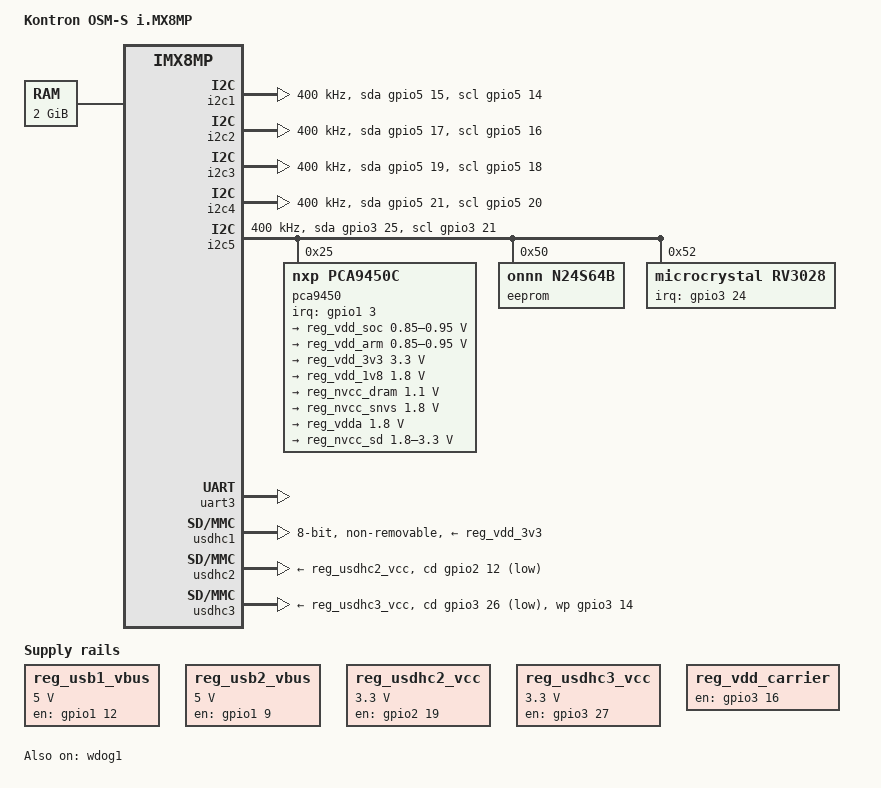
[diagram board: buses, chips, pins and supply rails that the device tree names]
// SPDX-License-Identifier: GPL-2.0+ OR MIT
/*
 * Copyright (C) 2022 Kontron Electronics GmbH
 */

#include <dt-bindings/interrupt-controller/irq.h>
#include "imx8mp.dtsi"

/ {
	model = "Kontron OSM-S i.MX8MP";
	compatible = "kontron,imx8mp-osm-s", "fsl,imx8mp";

	aliases {
		rtc0 = &rv3028;
		rtc1 = &snvs_rtc;
	};

	memory@40000000 {
		device_type = "memory";
		/*
		 * There are multiple SoM flavors with different DDR sizes.
		 * The smallest is 1GB. For larger sizes the bootloader will
		 * update the reg property.
		 */
		reg = <0x0 0x40000000 0 0x80000000>;
	};

	chosen {
		stdout-path = &uart3;
	};

	reg_usb1_vbus: regulator-usb1-vbus {
		compatible = "regulator-fixed";
		pinctrl-names = "default";
		pinctrl-0 = <&pinctrl_reg_usb1_vbus>;
		gpio = <&gpio1 12 GPIO_ACTIVE_HIGH>;
		enable-active-high;
		regulator-min-microvolt = <5000000>;
		regulator-max-microvolt = <5000000>;
		regulator-name = "VBUS_USB_A";
	};

	reg_usb2_vbus: regulator-usb2-vbus {
		compatible = "regulator-fixed";
		pinctrl-names = "default";
		pinctrl-0 = <&pinctrl_reg_usb2_vbus>;
		gpio = <&gpio1 9 GPIO_ACTIVE_HIGH>;
		enable-active-high;
		regulator-min-microvolt = <5000000>;
		regulator-max-microvolt = <5000000>;
		regulator-name = "VBUS_USB_B";
	};

	reg_usdhc2_vcc: regulator-usdhc2-vcc {
		compatible = "regulator-fixed";
		pinctrl-names = "default";
		pinctrl-0 = <&pinctrl_reg_usdhc2_vcc>;
		gpio = <&gpio2 19 GPIO_ACTIVE_HIGH>;
		enable-active-high;
		regulator-min-microvolt = <3300000>;
		regulator-max-microvolt = <3300000>;
		regulator-name = "VCC_SDIO_A";
	};

	reg_usdhc3_vcc: regulator-usdhc3-vcc {
		compatible = "regulator-fixed";
		pinctrl-names = "default";
		pinctrl-0 = <&pinctrl_reg_usdhc3_vcc>;
		gpio = <&gpio3 27 GPIO_ACTIVE_HIGH>;
		enable-active-high;
		regulator-min-microvolt = <3300000>;
		regulator-max-microvolt = <3300000>;
		regulator-name = "VCC_SDIO_B";
	};

	reg_vdd_carrier: regulator-vdd-carrier {
		compatible = "regulator-fixed";
		pinctrl-names = "default";
		pinctrl-0 = <&pinctrl_reg_vdd_carrier>;
		gpio = <&gpio3 16 GPIO_ACTIVE_HIGH>;
		enable-active-high;
		regulator-always-on;
		regulator-boot-on;
		regulator-name = "VDD_CARRIER";

		regulator-state-standby {
			regulator-on-in-suspend;
		};

		regulator-state-mem {
			regulator-off-in-suspend;
		};

		regulator-state-disk {
			regulator-off-in-suspend;
		};
	};
};

&A53_0 {
	cpu-supply = <&reg_vdd_arm>;
};

&A53_1 {
	cpu-supply = <&reg_vdd_arm>;
};

&A53_2 {
	cpu-supply = <&reg_vdd_arm>;
};

&A53_3 {
	cpu-supply = <&reg_vdd_arm>;
};

&ecspi1 { /* OSM-S SPI_A */
	pinctrl-names = "default";
	pinctrl-0 = <&pinctrl_ecspi1>;
	cs-gpios = <&gpio5 9 GPIO_ACTIVE_LOW>;
};

&ecspi2 { /* OSM-S SPI_B */
	pinctrl-names = "default";
	pinctrl-0 = <&pinctrl_ecspi2>;
	cs-gpios = <&gpio5 13 GPIO_ACTIVE_LOW>;
};

&flexcan1 { /* OSM-S CAN_A */
	pinctrl-names = "default";
	pinctrl-0 = <&pinctrl_flexcan1>;
};

&flexcan2 { /* OSM-S CAN_B */
	pinctrl-names = "default";
	pinctrl-0 = <&pinctrl_flexcan2>;
};

&gpio1 {
	pinctrl-names = "default";
	pinctrl-0 = <&pinctrl_gpio1>;
	gpio-line-names = "GPIO_A_0", "GPIO_A_1", "", "",
			  "", "GPIO_A_2", "GPIO_A_3", "GPIO_A_4",
			  "GPIO_A_5", "USB_B_EN", "USB_A_ID", "USB_B_ID",
			  "USB_A_EN", "USB_A_OC","CAM_MCK", "USB_B_OC",
			  "ETH_B_MDC", "ETH_B_MDIO", "ETH_B_TXD3", "ETH_B_TXD2",
			  "ETH_B_TXD1", "ETH_B_TXD0", "ETH_B_TX_EN", "ETH_B_TX_CLK",
			  "ETH_B_RX_DV", "ETH_B_RX_CLK", "ETH_B_RXD0", "ETH_B_RXD1",
			  "ETH_B_RXD2", "ETH_B_RXD3";
};

&gpio2 {
	gpio-line-names = "", "", "", "", "", "", "", "", "", "", "", "",
			  "SDIO_A_CD", "SDIO_A_CLK", "SDIO_A_CMD", "SDIO_A_D0",
			  "SDIO_A_D1", "SDIO_A_D2", "SDIO_A_D3", "SDIO_A_PWR_EN",
			  "SDIO_A_WP";
};

&gpio3 {
	pinctrl-names = "default";
	pinctrl-0 = <&pinctrl_gpio3>;
	gpio-line-names = "PCIE_WAKE", "PCIE_CLKREQ", "PCIE_A_PERST", "SDIO_B_D5",
			  "SDIO_B_D6", "SDIO_B_D7", "SPI_A_WP", "SPI_A_HOLD",
			  "UART_B_RTS", "UART_B_CTS", "SDIO_B_D0", "SDIO_B_D1",
			  "SDIO_B_D2", "SDIO_B_D3", "SDIO_B_WP", "SDIO_B_D4",
			  "PCIE_SM_ALERT", "SDIO_B_CLK", "SDIO_B_CMD", "GPIO_B_0",
			  "GPIO_B_1", "", "BOOT_SEL0", "BOOT_SEL1",
			  "", "", "SDIO_B_CD", "SDIO_B_PWR_EN",
			  "HDMI_CEC", "HDMI_HPD";
};

&gpio4 {
	pinctrl-names = "default";
	pinctrl-0 = <&pinctrl_gpio4>;
	gpio-line-names = "GPIO_B_5", "GPIO_B_6", "GPIO_B_7", "GPIO_C_0",
			  "ETH_A_MDC", "ETH_A_MDIO", "ETH_A_RXD0", "ETH_A_RXD1",
			  "ETH_A_RXD2", "ETH_A_RXD3", "ETH_A_RX_DV", "ETH_A_RX_CLK",
			  "ETH_A_TXD0", "ETH_A_TXD1", "ETH_A_TXD2", "ETH_A_TXD3",
			  "ETH_A_TX_EN", "ETH_A_TX_CLK", "GPIO_B_3", "GPIO_B_4",
			  "GPIO_B_2", "GPIO_A_6", "CAN_A_TX", "UART_A_CTS",
			  "UART_A_RTS", "CAN_A_RX", "CAN_B_TX", "CAN_B_RX",
			  "GPIO_A_7", "CARRIER_PWR_EN", "I2S_A_DATA_IN", "I2S_LRCLK";
};

&gpio5 {
	gpio-line-names = "I2S_BITCLK", "I2S_A_DATA_OUT", "I2S_MCLK", "PWM_2",
			  "PWM_1", "PWM_0", "SPI_A_SCK", "SPI_A_SDO",
			  "SPI_A_SDI", "SPI_A_CS0", "SPI_B_SCK", "SPI_B_SDO",
			  "SPI_B_SDI", "SPI_B_CS0", "I2C_A_SCL", "I2C_A_SDA",
			  "I2C_B_SCL", "I2C_B_SDA", "PCIE_SMCLK", "PCIE_SMDAT",
			  "I2C_CAM_SCL", "I2C_CAM_SDA", "UART_A_RX", "UART_A_TX",
			  "UART_C_RX", "UART_C_TX", "UART_CON_RX", "UART_CON_TX",
			  "UART_B_RX", "UART_B_TX";
};

&i2c1 { /* OSM-S I2C_A */
	clock-frequency = <400000>;
	pinctrl-names = "default", "gpio";
	pinctrl-0 = <&pinctrl_i2c1>;
	pinctrl-1 = <&pinctrl_i2c1_gpio>;
	scl-gpios = <&gpio5 14 (GPIO_ACTIVE_HIGH | GPIO_OPEN_DRAIN)>;
	sda-gpios = <&gpio5 15 (GPIO_ACTIVE_HIGH | GPIO_OPEN_DRAIN)>;
};

&i2c2 { /* OSM-S I2C_B */
	clock-frequency = <400000>;
	pinctrl-names = "default", "gpio";
	pinctrl-0 = <&pinctrl_i2c2>;
	pinctrl-1 = <&pinctrl_i2c2_gpio>;
	scl-gpios = <&gpio5 16 (GPIO_ACTIVE_HIGH | GPIO_OPEN_DRAIN)>;
	sda-gpios = <&gpio5 17 (GPIO_ACTIVE_HIGH | GPIO_OPEN_DRAIN)>;
};

&i2c3 { /* OSM-S PCIe SMDAT/SMCLK */
	clock-frequency = <400000>;
	pinctrl-names = "default", "gpio";
	pinctrl-0 = <&pinctrl_i2c3>;
	pinctrl-1 = <&pinctrl_i2c3_gpio>;
	scl-gpios = <&gpio5 18 (GPIO_ACTIVE_HIGH | GPIO_OPEN_DRAIN)>;
	sda-gpios = <&gpio5 19 (GPIO_ACTIVE_HIGH | GPIO_OPEN_DRAIN)>;
};

&i2c4 { /* OSM-S I2C_CAM */
	clock-frequency = <400000>;
	pinctrl-names = "default", "gpio";
	pinctrl-0 = <&pinctrl_i2c4>;
	pinctrl-1 = <&pinctrl_i2c4_gpio>;
	scl-gpios = <&gpio5 20 (GPIO_ACTIVE_HIGH | GPIO_OPEN_DRAIN)>;
	sda-gpios = <&gpio5 21 (GPIO_ACTIVE_HIGH | GPIO_OPEN_DRAIN)>;
};

&i2c5 { /* PMIC, EEPROM, RTC */
	clock-frequency = <400000>;
	pinctrl-names = "default", "gpio";
	pinctrl-0 = <&pinctrl_i2c5>;
	pinctrl-1 = <&pinctrl_i2c5_gpio>;
	scl-gpios = <&gpio3 21 (GPIO_ACTIVE_HIGH | GPIO_OPEN_DRAIN)>;
	sda-gpios = <&gpio3 25 (GPIO_ACTIVE_HIGH | GPIO_OPEN_DRAIN)>;
	status = "okay";

	pca9450: pmic@25 {
		compatible = "nxp,pca9450c";
		reg = <0x25>;
		pinctrl-names = "default";
		pinctrl-0 = <&pinctrl_pmic>;
		interrupt-parent = <&gpio1>;
		interrupts = <3 IRQ_TYPE_LEVEL_LOW>;
		nxp,i2c-lt-enable;

		regulators {
			reg_vdd_soc: BUCK1 { /* dual phase with BUCK3 */
				regulator-name = "+0V8_VDD_SOC (BUCK1)";
				regulator-min-microvolt = <850000>;
				regulator-max-microvolt = <950000>;
				regulator-boot-on;
				regulator-always-on;
				regulator-ramp-delay = <3125>;
			};

			reg_vdd_arm: BUCK2 {
				regulator-name = "+0V9_VDD_ARM (BUCK2)";
				regulator-min-microvolt = <850000>;
				regulator-max-microvolt = <950000>;
				regulator-boot-on;
				regulator-always-on;
				regulator-ramp-delay = <3125>;
				nxp,dvs-run-voltage = <950000>;
				nxp,dvs-standby-voltage = <850000>;
			};

			reg_vdd_3v3: BUCK4 {
				regulator-name = "+3V3 (BUCK4)";
				regulator-min-microvolt = <3300000>;
				regulator-max-microvolt = <3300000>;
				regulator-boot-on;
				regulator-always-on;
			};

			reg_vdd_1v8: BUCK5 {
				regulator-name = "+1V8 (BUCK5)";
				regulator-min-microvolt = <1800000>;
				regulator-max-microvolt = <1800000>;
				regulator-boot-on;
				regulator-always-on;
			};

			reg_nvcc_dram: BUCK6 {
				regulator-name = "+1V1_NVCC_DRAM (BUCK6)";
				regulator-min-microvolt = <1100000>;
				regulator-max-microvolt = <1100000>;
				regulator-boot-on;
				regulator-always-on;
			};

			reg_nvcc_snvs: LDO1 {
				regulator-name = "+1V8_NVCC_SNVS (LDO1)";
				regulator-min-microvolt = <1800000>;
				regulator-max-microvolt = <1800000>;
				regulator-boot-on;
				regulator-always-on;
			};

			reg_vdda: LDO3 {
				regulator-name = "+1V8_VDDA (LDO3)";
				regulator-min-microvolt = <1800000>;
				regulator-max-microvolt = <1800000>;
				regulator-boot-on;
				regulator-always-on;
			};

			reg_nvcc_sd: LDO5 {
				regulator-name = "NVCC_SD (LDO5)";
				regulator-min-microvolt = <1800000>;
				regulator-max-microvolt = <3300000>;
				sd-vsel-gpios = <&gpio1 4 GPIO_ACTIVE_HIGH>;
			};
		};
	};

	eeprom@50 {
		compatible = "onnn,n24s64b", "atmel,24c64";
		reg = <0x50>;
		pagesize = <32>;
		size = <8192>;
		num-addresses = <1>;
	};

	rv3028: rtc@52 {
		compatible = "microcrystal,rv3028";
		reg = <0x52>;
		pinctrl-names = "default";
		pinctrl-0 = <&pinctrl_rtc>;
		interrupts-extended = <&gpio3 24 IRQ_TYPE_LEVEL_LOW>;
	};
};

&pwm1 { /* OSM-S PWM_0 */
	pinctrl-names = "default";
	pinctrl-0 = <&pinctrl_pwm1>;
};

&pwm2 { /* OSM-S PWM_1 */
	pinctrl-names = "default";
	pinctrl-0 = <&pinctrl_pwm2>;
};

&pwm3 { /* OSM-S PWM_2 */
	pinctrl-names = "default";
	pinctrl-0 = <&pinctrl_pwm3>;
};

&sai3 { /* OSM-S I2S_A */
	pinctrl-names = "default";
	pinctrl-0 = <&pinctrl_sai3>;
};

&uart1 { /* OSM-S UART_A */
	pinctrl-names = "default";
	pinctrl-0 = <&pinctrl_uart1>;
};

&uart2 { /* OSM-S UART_C */
	pinctrl-names = "default";
	pinctrl-0 = <&pinctrl_uart2>;
};

&uart3 { /* OSM-S UART_CON */
	pinctrl-names = "default";
	pinctrl-0 = <&pinctrl_uart3>;
	status = "okay";
};

&uart4 { /* OSM-S UART_B */
	pinctrl-names = "default";
	pinctrl-0 = <&pinctrl_uart4>;
};

&usb3_0 { /* OSM-S USB_A */
	pinctrl-names = "default";
	pinctrl-0 = <&pinctrl_usb1_oc>;
	fsl,over-current-active-low;
};

&usb3_1 { /* OSM-S USB_B */
	pinctrl-names = "default";
	pinctrl-0 = <&pinctrl_usb2_oc>;
	fsl,over-current-active-low;
};

&usdhc1 { /* eMMC */
	pinctrl-names = "default", "state_100mhz", "state_200mhz";
	pinctrl-0 = <&pinctrl_usdhc1>;
	pinctrl-1 = <&pinctrl_usdhc1_100mhz>;
	pinctrl-2 = <&pinctrl_usdhc1_200mhz>;
	vmmc-supply = <&reg_vdd_3v3>;
	vqmmc-supply = <&reg_vdd_1v8>;
	bus-width = <8>;
	non-removable;
	status = "okay";
};

&usdhc2 { /* OSM-S SDIO_A */
	pinctrl-names = "default", "state_100mhz", "state_200mhz";
	pinctrl-0 = <&pinctrl_usdhc2>, <&pinctrl_usdhc2_gpio>, <&pinctrl_usdhc2_wp>;
	pinctrl-1 = <&pinctrl_usdhc2_100mhz>, <&pinctrl_usdhc2_gpio>, <&pinctrl_usdhc2_wp>;
	pinctrl-2 = <&pinctrl_usdhc2_200mhz>, <&pinctrl_usdhc2_gpio>, <&pinctrl_usdhc2_wp>;
	vmmc-supply = <&reg_usdhc2_vcc>;
	vqmmc-supply = <&reg_nvcc_sd>;
	cd-gpios = <&gpio2 12 GPIO_ACTIVE_LOW>;
};

&usdhc3 { /* OSM-S SDIO_B */
	pinctrl-names = "default", "state_100mhz", "state_200mhz";
	pinctrl-0 = <&pinctrl_usdhc3>, <&pinctrl_usdhc3_gpio>;
	pinctrl-1 = <&pinctrl_usdhc3_100mhz>, <&pinctrl_usdhc3_gpio>;
	pinctrl-2 = <&pinctrl_usdhc3_200mhz>, <&pinctrl_usdhc3_gpio>;
	vmmc-supply = <&reg_usdhc3_vcc>;
	vqmmc-supply = <&reg_nvcc_sd>;
	cd-gpios = <&gpio3 26 GPIO_ACTIVE_LOW>;
	wp-gpios = <&gpio3 14 GPIO_ACTIVE_HIGH>;
};

&wdog1 {
	pinctrl-names = "default";
	pinctrl-0 = <&pinctrl_wdog>;
	fsl,ext-reset-output;
	status = "okay";
};

&iomuxc {
	pinctrl_csi_mck: csimckgrp {
		fsl,pins = <
			MX8MP_IOMUXC_GPIO1_IO14__CCM_CLKO1		0x59 /* CAM_MCK */
		>;
	};

	pinctrl_ecspi1: ecspi1grp {
		fsl,pins = <
			MX8MP_IOMUXC_ECSPI1_MISO__ECSPI1_MISO		0x44 /* SPI_A_SDI_(IO0) */
			MX8MP_IOMUXC_ECSPI1_MOSI__ECSPI1_MOSI		0x44 /* SPI_A_SDO_(IO1) */
			MX8MP_IOMUXC_ECSPI1_SCLK__ECSPI1_SCLK		0x44 /* SPI_A_SCK */
			MX8MP_IOMUXC_ECSPI1_SS0__GPIO5_IO09		0x40 /* SPI_A_CS0# */
		>;
	};

	pinctrl_ecspi2: ecspi2grp {
		fsl,pins = <
			MX8MP_IOMUXC_ECSPI2_MISO__ECSPI2_MISO		0x44 /* SPI_B_SDI */
			MX8MP_IOMUXC_ECSPI2_MOSI__ECSPI2_MOSI		0x44 /* SPI_B_SDO */
			MX8MP_IOMUXC_ECSPI2_SCLK__ECSPI2_SCLK		0x44 /* SPI_B_SCK */
			MX8MP_IOMUXC_ECSPI2_SS0__GPIO5_IO13		0x40 /* SPI_B_CS0# */
		>;
	};

	pinctrl_enet_rgmii: enetrgmiigrp {
		fsl,pins = <
			MX8MP_IOMUXC_SAI1_RXD2__ENET1_MDC		0x3 /* ETH_MDC */
			MX8MP_IOMUXC_SAI1_RXD3__ENET1_MDIO		0x3 /* ETH_MDIO */
			MX8MP_IOMUXC_SAI1_RXD4__ENET1_RGMII_RD0		0x91 /* ETH_A_(S)(R)(G)MII_RXD0 */
			MX8MP_IOMUXC_SAI1_RXD5__ENET1_RGMII_RD1		0x91 /* ETH_A_(S)(R)(G)MII_RXD1 */
			MX8MP_IOMUXC_SAI1_RXD6__ENET1_RGMII_RD2		0x91 /* ETH_A_(R)(G)MII_RXD2 */
			MX8MP_IOMUXC_SAI1_RXD7__ENET1_RGMII_RD3		0x91 /* ETH_A_(R)(G)MII_RXD3 */
			MX8MP_IOMUXC_SAI1_TXC__ENET1_RGMII_RXC		0x91 /* ETH_A_(R)(G)MII_RX_CLK */
			MX8MP_IOMUXC_SAI1_TXFS__ENET1_RGMII_RX_CTL	0x91 /* ETH_A_(R)(G)MII_RX_DV(_ER) */
			MX8MP_IOMUXC_SAI1_TXD0__ENET1_RGMII_TD0		0x1f /* ETH_A_(S)(R)(G)MII_TXD0 */
			MX8MP_IOMUXC_SAI1_TXD1__ENET1_RGMII_TD1		0x1f /* ETH_A_(S)(R)(G)MII_TXD1 */
			MX8MP_IOMUXC_SAI1_TXD2__ENET1_RGMII_TD2		0x1f /* ETH_A_(S)(R)(G)MII_TXD2 */
			MX8MP_IOMUXC_SAI1_TXD3__ENET1_RGMII_TD3		0x1f /* ETH_A_(S)(R)(G)MII_TXD3 */
			MX8MP_IOMUXC_SAI1_TXD5__ENET1_RGMII_TXC		0x1f /* ETH_A_(R)(G)MII_TX_CLK */
			MX8MP_IOMUXC_SAI1_TXD4__ENET1_RGMII_TX_CTL	0x1f /* ETH_A_(R)(G)MII_TX_EN(_ER) */
		>;
	};

	pinctrl_eqos_rgmii: eqosrgmiigrp {
		fsl,pins = <
			MX8MP_IOMUXC_ENET_MDC__ENET_QOS_MDC		0x3 /* ETH_B_MDC */
			MX8MP_IOMUXC_ENET_MDIO__ENET_QOS_MDIO		0x3 /* ETH_B_MDIO */
			MX8MP_IOMUXC_ENET_RD0__ENET_QOS_RGMII_RD0	0x91 /* ETH_B_(S)(R)(G)MII_RXD0 */
			MX8MP_IOMUXC_ENET_RD1__ENET_QOS_RGMII_RD1	0x91 /* ETH_B_(S)(R)(G)MII_RXD1 */
			MX8MP_IOMUXC_ENET_RD2__ENET_QOS_RGMII_RD2	0x91 /* ETH_B_(R)(G)MII_RXD2 */
			MX8MP_IOMUXC_ENET_RD3__ENET_QOS_RGMII_RD3	0x91 /* ETH_B_(R)(G)MII_RXD3 */
			MX8MP_IOMUXC_ENET_RXC__CCM_ENET_QOS_CLOCK_GENERATE_RX_CLK 0x91 /* ETH_B_(R)(G)MII_RX_CLK */
			MX8MP_IOMUXC_ENET_RX_CTL__ENET_QOS_RGMII_RX_CTL	0x91 /* ETH_B_(R)(G)MII_RX_DV(_ER) */
			MX8MP_IOMUXC_ENET_TD0__ENET_QOS_RGMII_TD0	0x1f /* ETH_B_(S)(R)(G)MII_TXD0 */
			MX8MP_IOMUXC_ENET_TD1__ENET_QOS_RGMII_TD1	0x1f /* ETH_B_(S)(R)(G)MII_TXD1 */
			MX8MP_IOMUXC_ENET_TD2__ENET_QOS_RGMII_TD2	0x1f /* ETH_B_(S)(R)(G)MII_TXD2 */
			MX8MP_IOMUXC_ENET_TD3__ENET_QOS_RGMII_TD3	0x1f /* ETH_B_(S)(R)(G)MII_TXD3 */
			MX8MP_IOMUXC_ENET_TXC__CCM_ENET_QOS_CLOCK_GENERATE_TX_CLK 0x1f /* ETH_B_(R)(G)MII_TX_CLK */
			MX8MP_IOMUXC_ENET_TX_CTL__ENET_QOS_RGMII_TX_CTL	0x1f /* ETH_B_(R)(G)MII_TX_EN(_ER) */
		>;
	};

	pinctrl_flexcan1: flexcan1grp {
		fsl,pins = <
			MX8MP_IOMUXC_SAI2_RXC__CAN1_TX			0x154 /* CAN_A_TX */
			MX8MP_IOMUXC_SAI2_TXC__CAN1_RX			0x154 /* CAN_A_RX */
		>;
	};

	pinctrl_flexcan2: flexcan2grp {
		fsl,pins = <
			MX8MP_IOMUXC_SAI2_TXD0__CAN2_TX			0x154 /* CAN_B_TX */
			MX8MP_IOMUXC_SAI2_MCLK__CAN2_RX			0x154 /* CAN_B_RX */
		>;
	};

	pinctrl_gpio1: gpio1grp {
		fsl,pins = <
			MX8MP_IOMUXC_GPIO1_IO00__GPIO1_IO00		0x19 /* GPIO_A_0 */
			MX8MP_IOMUXC_GPIO1_IO01__GPIO1_IO01		0x19 /* GPIO_A_1 */
			MX8MP_IOMUXC_GPIO1_IO05__GPIO1_IO05		0x19 /* GPIO_A_2 */
			MX8MP_IOMUXC_GPIO1_IO06__GPIO1_IO06		0x19 /* GPIO_A_3 */
			MX8MP_IOMUXC_GPIO1_IO07__GPIO1_IO07		0x19 /* GPIO_A_4 */
			MX8MP_IOMUXC_GPIO1_IO08__GPIO1_IO08		0x19 /* GPIO_A_5 */
		>;
	};

	pinctrl_gpio3: gpio3grp {
		fsl,pins = <
			MX8MP_IOMUXC_NAND_CE0_B__GPIO3_IO01		0x19 /* GPIO_A_7 */
			MX8MP_IOMUXC_SAI5_RXFS__GPIO3_IO19		0x19 /* GPIO_B_0 */
			MX8MP_IOMUXC_SAI5_RXC__GPIO3_IO20		0x19 /* GPIO_B_1 */
			MX8MP_IOMUXC_SAI5_RXD1__GPIO3_IO22		0x19 /* BOOT_SEL0# */
			MX8MP_IOMUXC_SAI5_RXD2__GPIO3_IO23		0x19 /* BOOT_SEL1# */
		>;
	};

	pinctrl_gpio4: gpio4grp {
		fsl,pins = <
			MX8MP_IOMUXC_SAI1_RXFS__GPIO4_IO00		0x19 /* GPIO_B_5 */
			MX8MP_IOMUXC_SAI1_RXC__GPIO4_IO01		0x19 /* GPIO_B_6 */
			MX8MP_IOMUXC_SAI1_RXD0__GPIO4_IO02		0x19 /* GPIO_B_7 */
			MX8MP_IOMUXC_SAI1_RXD1__GPIO4_IO03		0x19 /* GPIO_C_0 */
			MX8MP_IOMUXC_SAI1_TXD6__GPIO4_IO18		0x19 /* GPIO_B_3 */
			MX8MP_IOMUXC_SAI1_TXD7__GPIO4_IO19		0x19 /* GPIO_B_4 */
			MX8MP_IOMUXC_SAI1_MCLK__GPIO4_IO20		0x19 /* GPIO_B_2 */
			MX8MP_IOMUXC_SAI2_RXFS__GPIO4_IO21		0x19 /* GPIO_A_6 */
		>;
	};

	pinctrl_hdmi: hdmigrp {
		fsl,pins = <
			MX8MP_IOMUXC_HDMI_HPD__HDMIMIX_HDMI_HPD		0x19 /* HDMI_HPD */
		>;
	};

	pinctrl_i2c1: i2c1grp {
		fsl,pins = <
			MX8MP_IOMUXC_I2C1_SCL__I2C1_SCL			0x40000084 /* I2C_A_SCL */
			MX8MP_IOMUXC_I2C1_SDA__I2C1_SDA			0x40000084 /* I2C_A_SDA */
		>;
	};

	pinctrl_i2c1_gpio: i2c1gpiogrp {
		fsl,pins = <
			MX8MP_IOMUXC_I2C1_SCL__GPIO5_IO14		0x84 /* I2C_A_SCL */
			MX8MP_IOMUXC_I2C1_SDA__GPIO5_IO15		0x84 /* I2C_A_SDA */
		>;
	};

	pinctrl_i2c2: i2c2grp {
		fsl,pins = <
			MX8MP_IOMUXC_I2C2_SCL__I2C2_SCL			0x40000084 /* I2C_B_SCL */
			MX8MP_IOMUXC_I2C2_SDA__I2C2_SDA			0x40000084 /* I2C_B_SDA */
		>;
	};

	pinctrl_i2c2_gpio: i2c2gpiogrp {
		fsl,pins = <
			MX8MP_IOMUXC_I2C2_SCL__GPIO5_IO16		0x84 /* I2C_B_SCL */
			MX8MP_IOMUXC_I2C2_SDA__GPIO5_IO17		0x84 /* I2C_B_SDA */
		>;
	};

	pinctrl_i2c3: i2c3grp {
		fsl,pins = <
			MX8MP_IOMUXC_I2C3_SCL__I2C3_SCL			0x40000084 /* PCIe_SMCLK */
			MX8MP_IOMUXC_I2C3_SDA__I2C3_SDA			0x40000084 /* PCIe_SMDAT */
		>;
	};

	pinctrl_i2c3_gpio: i2c3gpiogrp {
		fsl,pins = <
			MX8MP_IOMUXC_I2C3_SCL__GPIO5_IO18		0x84 /* PCIe_SMCLK */
			MX8MP_IOMUXC_I2C3_SDA__GPIO5_IO19		0x84 /* PCIe_SMDAT */
		>;
	};

	pinctrl_i2c4: i2c4grp {
		fsl,pins = <
			MX8MP_IOMUXC_I2C4_SCL__I2C4_SCL			0x40000084 /* I2C_CAM_SCL/CSI_TX_P */
			MX8MP_IOMUXC_I2C4_SDA__I2C4_SDA			0x40000084 /* I2C_CAM_SDA/CSI_TX_N */
		>;
	};

	pinctrl_i2c4_gpio: i2c4gpiogrp {
		fsl,pins = <
			MX8MP_IOMUXC_I2C4_SCL__GPIO5_IO20		0x84 /* I2C_CAM_SCL/CSI_TX_P */
			MX8MP_IOMUXC_I2C4_SDA__GPIO5_IO21		0x84 /* I2C_CAM_SDA/CSI_TX_N */
		>;
	};

	pinctrl_i2c5: i2c5grp {
		fsl,pins = <
			MX8MP_IOMUXC_SAI5_RXD0__I2C5_SCL		0x40000084
			MX8MP_IOMUXC_SAI5_MCLK__I2C5_SDA		0x40000084
		>;
	};

	pinctrl_i2c5_gpio: i2c5gpiogrp {
		fsl,pins = <
			MX8MP_IOMUXC_SAI5_RXD0__GPIO3_IO21		0x84
			MX8MP_IOMUXC_SAI5_MCLK__GPIO3_IO25		0x84
		>;
	};

	pinctrl_pcie: pciegrp {
		fsl,pins = <
			MX8MP_IOMUXC_UART4_RXD__PCIE_CLKREQ_B		0x19 /* PCIe_CLKREQ# */
			MX8MP_IOMUXC_NAND_CE1_B__GPIO3_IO02		0x19 /* PCIe_A_PERST# */
			MX8MP_IOMUXC_NAND_ALE__GPIO3_IO00		0x19 /* PCIe_WAKE# */
			MX8MP_IOMUXC_NAND_READY_B__GPIO3_IO16		0x19 /* PCIe_SM_ALERT */
		>;
	};

	pinctrl_pmic: pmicgrp {
		fsl,pins = <
			MX8MP_IOMUXC_GPIO1_IO03__GPIO1_IO03		0x1c0
		>;
	};

	pinctrl_pwm1: pwm1grp {
		fsl,pins = <
			MX8MP_IOMUXC_SPDIF_EXT_CLK__PWM1_OUT		0x6 /* PWM_0 */
		>;
	};

	pinctrl_pwm2: pwm2grp {
		fsl,pins = <
			MX8MP_IOMUXC_SPDIF_RX__PWM2_OUT			0x6 /* PWM_1 */
		>;
	};

	pinctrl_pwm3: pwm3grp {
		fsl,pins = <
			MX8MP_IOMUXC_SPDIF_TX__PWM3_OUT			0x6 /* PWM_2 */
		>;
	};

	pinctrl_reg_usb1_vbus: regusb1vbusgrp {
		fsl,pins = <
			MX8MP_IOMUXC_GPIO1_IO12__GPIO1_IO12		0x19 /* USB_A_EN */
		>;
	};

	pinctrl_reg_usb2_vbus: regusb2vbusgrp {
		fsl,pins = <
			MX8MP_IOMUXC_GPIO1_IO09__GPIO1_IO09		0x19 /* USB_B_EN */
		>;
	};

	pinctrl_reg_usdhc2_vcc: regusdhc2vccgrp {
		fsl,pins = <
			MX8MP_IOMUXC_SD2_RESET_B__GPIO2_IO19		0x19 /* SDIO_A_PWR_EN */
		>;
	};

	pinctrl_reg_usdhc3_vcc: regusdhc3vccgrp {
		fsl,pins = <
			MX8MP_IOMUXC_HDMI_DDC_SDA__GPIO3_IO27		0x19 /* SDIO_B_PWR_EN */
		>;
	};

	pinctrl_reg_vdd_carrier: regvddcarriergrp {
		fsl,pins = <
			MX8MP_IOMUXC_SAI3_RXC__GPIO4_IO29		0x19 /* CARRIER_PWR_EN */
		>;
	};

	pinctrl_rtc: rtcgrp {
		fsl,pins = <
			MX8MP_IOMUXC_SAI5_RXD3__GPIO3_IO24		0x1c0
		>;
	};

	pinctrl_sai3: sai3grp {
		fsl,pins = <
			MX8MP_IOMUXC_SAI3_RXD__AUDIOMIX_SAI3_RX_DATA00		0xd6 /* I2S_A_DATA_IN */
			MX8MP_IOMUXC_SAI3_TXD__AUDIOMIX_SAI3_TX_DATA00		0xd6 /* I2S_A_DATA_OUT */
			MX8MP_IOMUXC_SAI3_RXFS__AUDIOMIX_SAI3_RX_DATA01		0xd6 /* I2S_B_DATA_IN */
			MX8MP_IOMUXC_SAI3_TXFS__AUDIOMIX_SAI3_TX_DATA01		0xd6 /* I2S_B_DATA_OUT */
			MX8MP_IOMUXC_SAI3_MCLK__AUDIOMIX_SAI3_MCLK		0xd6 /* I2S_MCLK */
			MX8MP_IOMUXC_NAND_DATA01__AUDIOMIX_SAI3_TX_SYNC		0xd6 /* I2S_LRCLK */
			MX8MP_IOMUXC_SAI3_TXC__AUDIOMIX_SAI3_TX_BCLK		0xd6 /* I2S_BITCLK */
		>;
	};

	pinctrl_uart1: uart1grp {
		fsl,pins = <
			MX8MP_IOMUXC_UART1_RXD__UART1_DCE_RX		0x140 /* UART_A_RX */
			MX8MP_IOMUXC_UART1_TXD__UART1_DCE_TX		0x140 /* UART_A_TX */
			MX8MP_IOMUXC_SAI2_RXD0__UART1_DCE_RTS		0x140 /* UART_A_CTS */
			MX8MP_IOMUXC_SAI2_TXFS__UART1_DCE_CTS		0x140 /* UART_A_RTS */
		>;
	};

	pinctrl_uart2: uart2grp {
		fsl,pins = <
			MX8MP_IOMUXC_UART2_RXD__UART2_DCE_RX		0x140 /* UART_C_RX */
			MX8MP_IOMUXC_UART2_TXD__UART2_DCE_TX		0x140 /* UART_C_TX */
		>;
	};

	pinctrl_uart3: uart3grp {
		fsl,pins = <
			MX8MP_IOMUXC_UART3_RXD__UART3_DCE_RX		0x140 /* UART_CON_RX */
			MX8MP_IOMUXC_UART3_TXD__UART3_DCE_TX		0x140 /* UART_CON_TX */
		>;
	};

	pinctrl_uart4: uart4grp {
		fsl,pins = <
			MX8MP_IOMUXC_NAND_DATA00__UART4_DCE_RX		0x140 /* UART_B_RX */
			MX8MP_IOMUXC_UART4_TXD__UART4_DCE_TX		0x140 /* UART_B_TX */
			MX8MP_IOMUXC_NAND_DATA03__UART4_DCE_RTS		0x140 /* UART_B_CTS */
			MX8MP_IOMUXC_NAND_DATA02__UART4_DCE_CTS		0x140 /* UART_B_RTS */
		>;
	};

	pinctrl_usb1_id: usb1idgrp {
		fsl,pins = <
			MX8MP_IOMUXC_GPIO1_IO10__GPIO1_IO10		0x1c4 /* USB_A_ID */
		>;
	};

	pinctrl_usb1_oc: usb1ocgrp {
		fsl,pins = <
			MX8MP_IOMUXC_GPIO1_IO13__USB1_OTG_OC		0x1c0 /* USB_A_OC# */
		>;
	};

	pinctrl_usb2_id: usb2idgrp {
		fsl,pins = <
			MX8MP_IOMUXC_GPIO1_IO11__USB2_OTG_ID		0x1c4 /* USB_B_ID */
		>;
	};

	pinctrl_usb2_oc: usb2ocgrp {
		fsl,pins = <
			MX8MP_IOMUXC_GPIO1_IO15__USB2_OTG_OC		0x1c0 /* USB_B_OC# */
		>;
	};

	pinctrl_usdhc1: usdhc1grp {
		fsl,pins = <
			MX8MP_IOMUXC_SD1_CLK__USDHC1_CLK		0x190
			MX8MP_IOMUXC_SD1_CMD__USDHC1_CMD		0x1d0
			MX8MP_IOMUXC_SD1_DATA0__USDHC1_DATA0		0x1d0
			MX8MP_IOMUXC_SD1_DATA1__USDHC1_DATA1		0x1d0
			MX8MP_IOMUXC_SD1_DATA2__USDHC1_DATA2		0x1d0
			MX8MP_IOMUXC_SD1_DATA3__USDHC1_DATA3		0x1d0
			MX8MP_IOMUXC_SD1_DATA4__USDHC1_DATA4		0x1d0
			MX8MP_IOMUXC_SD1_DATA5__USDHC1_DATA5		0x1d0
			MX8MP_IOMUXC_SD1_DATA6__USDHC1_DATA6		0x1d0
			MX8MP_IOMUXC_SD1_DATA7__USDHC1_DATA7		0x1d0
			MX8MP_IOMUXC_SD1_RESET_B__USDHC1_RESET_B	0x141
			MX8MP_IOMUXC_SD1_STROBE__USDHC1_STROBE		0x190
		>;
	};

	pinctrl_usdhc1_100mhz: usdhc1-100mhzgrp {
		fsl,pins = <
			MX8MP_IOMUXC_SD1_CLK__USDHC1_CLK		0x194
			MX8MP_IOMUXC_SD1_CMD__USDHC1_CMD		0x1d4
			MX8MP_IOMUXC_SD1_DATA0__USDHC1_DATA0		0x1d4
			MX8MP_IOMUXC_SD1_DATA1__USDHC1_DATA1		0x1d4
			MX8MP_IOMUXC_SD1_DATA2__USDHC1_DATA2		0x1d4
			MX8MP_IOMUXC_SD1_DATA3__USDHC1_DATA3		0x1d4
			MX8MP_IOMUXC_SD1_DATA4__USDHC1_DATA4		0x1d4
			MX8MP_IOMUXC_SD1_DATA5__USDHC1_DATA5		0x1d4
			MX8MP_IOMUXC_SD1_DATA6__USDHC1_DATA6		0x1d4
			MX8MP_IOMUXC_SD1_DATA7__USDHC1_DATA7		0x1d4
			MX8MP_IOMUXC_SD1_RESET_B__USDHC1_RESET_B	0x141
			MX8MP_IOMUXC_SD1_STROBE__USDHC1_STROBE		0x194
		>;
	};

	pinctrl_usdhc1_200mhz: usdhc1-200mhzgrp {
		fsl,pins = <
			MX8MP_IOMUXC_SD1_CLK__USDHC1_CLK		0x196
			MX8MP_IOMUXC_SD1_CMD__USDHC1_CMD		0x1d6
			MX8MP_IOMUXC_SD1_DATA0__USDHC1_DATA0		0x1d6
			MX8MP_IOMUXC_SD1_DATA1__USDHC1_DATA1		0x1d6
			MX8MP_IOMUXC_SD1_DATA2__USDHC1_DATA2		0x1d6
			MX8MP_IOMUXC_SD1_DATA3__USDHC1_DATA3		0x1d6
			MX8MP_IOMUXC_SD1_DATA4__USDHC1_DATA4		0x1d6
			MX8MP_IOMUXC_SD1_DATA5__USDHC1_DATA5		0x1d6
			MX8MP_IOMUXC_SD1_DATA6__USDHC1_DATA6		0x1d6
			MX8MP_IOMUXC_SD1_DATA7__USDHC1_DATA7		0x1d6
			MX8MP_IOMUXC_SD1_RESET_B__USDHC1_RESET_B	0x141
			MX8MP_IOMUXC_SD1_STROBE__USDHC1_STROBE		0x196
		>;
	};

	pinctrl_usdhc2: usdhc2grp {
		fsl,pins = <
			MX8MP_IOMUXC_SD2_CLK__USDHC2_CLK		0x190 /* SDIO_A_CLK */
			MX8MP_IOMUXC_SD2_CMD__USDHC2_CMD		0x1d0 /* SDIO_A_CMD */
			MX8MP_IOMUXC_SD2_DATA0__USDHC2_DATA0		0x1d0 /* SDIO_A_D0 */
			MX8MP_IOMUXC_SD2_DATA1__USDHC2_DATA1		0x1d0 /* SDIO_A_D1 */
			MX8MP_IOMUXC_SD2_DATA2__USDHC2_DATA2		0x1d0 /* SDIO_A_D2 */
			MX8MP_IOMUXC_SD2_DATA3__USDHC2_DATA3		0x1d0 /* SDIO_A_D3 */
			MX8MP_IOMUXC_GPIO1_IO04__USDHC2_VSELECT		0x400001d0
		>;
	};

	pinctrl_usdhc2_100mhz: usdhc2-100mhzgrp {
		fsl,pins = <
			MX8MP_IOMUXC_SD2_CLK__USDHC2_CLK		0x194 /* SDIO_A_CLK */
			MX8MP_IOMUXC_SD2_CMD__USDHC2_CMD		0x1d4 /* SDIO_A_CMD */
			MX8MP_IOMUXC_SD2_DATA0__USDHC2_DATA0		0x1d4 /* SDIO_A_D0 */
			MX8MP_IOMUXC_SD2_DATA1__USDHC2_DATA1		0x1d4 /* SDIO_A_D1 */
			MX8MP_IOMUXC_SD2_DATA2__USDHC2_DATA2		0x1d4 /* SDIO_A_D2 */
			MX8MP_IOMUXC_SD2_DATA3__USDHC2_DATA3		0x1d4 /* SDIO_A_D3 */
			MX8MP_IOMUXC_GPIO1_IO04__USDHC2_VSELECT		0x400001d0
		>;
	};

	pinctrl_usdhc2_200mhz: usdhc2-200mhzgrp {
		fsl,pins = <
			MX8MP_IOMUXC_SD2_CLK__USDHC2_CLK		0x196 /* SDIO_A_CLK */
			MX8MP_IOMUXC_SD2_CMD__USDHC2_CMD		0x1d6 /* SDIO_A_CMD */
			MX8MP_IOMUXC_SD2_DATA0__USDHC2_DATA0		0x1d6 /* SDIO_A_D0 */
			MX8MP_IOMUXC_SD2_DATA1__USDHC2_DATA1		0x1d6 /* SDIO_A_D1 */
			MX8MP_IOMUXC_SD2_DATA2__USDHC2_DATA2		0x1d6 /* SDIO_A_D2 */
			MX8MP_IOMUXC_SD2_DATA3__USDHC2_DATA3		0x1d6 /* SDIO_A_D3 */
			MX8MP_IOMUXC_GPIO1_IO04__USDHC2_VSELECT		0x400001d0
		>;
	};

	pinctrl_usdhc2_gpio: usdhc2gpiogrp {
		fsl,pins = <
			MX8MP_IOMUXC_SD2_CD_B__GPIO2_IO12		0x19 /* SDIO_A_CD# */
		>;
	};

	pinctrl_usdhc2_wp: usdhc2wpgrp {
		fsl,pins = <
			MX8MP_IOMUXC_SD2_WP__USDHC2_WP			0x400000d6 /* SDIO_A_WP */
		>;
	};

	pinctrl_usdhc3: usdhc3grp {
		fsl,pins = <
			MX8MP_IOMUXC_NAND_WE_B__USDHC3_CLK		0x190 /* SDIO_B_CLK */
			MX8MP_IOMUXC_NAND_WP_B__USDHC3_CMD		0x1d0 /* SDIO_B_CMD */
			MX8MP_IOMUXC_NAND_DATA04__USDHC3_DATA0		0x1d0 /* SDIO_B_D0 */
			MX8MP_IOMUXC_NAND_DATA05__USDHC3_DATA1		0x1d0 /* SDIO_B_D1 */
			MX8MP_IOMUXC_NAND_DATA06__USDHC3_DATA2		0x1d0 /* SDIO_B_D2 */
			MX8MP_IOMUXC_NAND_DATA07__USDHC3_DATA3		0x1d0 /* SDIO_B_D3 */
			MX8MP_IOMUXC_NAND_RE_B__USDHC3_DATA4		0x1d0 /* SDIO_B_D4 */
			MX8MP_IOMUXC_NAND_CE2_B__USDHC3_DATA5		0x1d0 /* SDIO_B_D5 */
			MX8MP_IOMUXC_NAND_CE3_B__USDHC3_DATA6		0x1d0 /* SDIO_B_D6 */
			MX8MP_IOMUXC_NAND_CLE__USDHC3_DATA7		0x1d0 /* SDIO_B_D7 */
		>;
	};

	pinctrl_usdhc3_100mhz: usdhc3-100mhzgrp {
		fsl,pins = <
			MX8MP_IOMUXC_NAND_WE_B__USDHC3_CLK		0x194 /* SDIO_B_CLK */
			MX8MP_IOMUXC_NAND_WP_B__USDHC3_CMD		0x1d4 /* SDIO_B_CMD */
			MX8MP_IOMUXC_NAND_DATA04__USDHC3_DATA0		0x1d4 /* SDIO_B_D0 */
			MX8MP_IOMUXC_NAND_DATA05__USDHC3_DATA1		0x1d4 /* SDIO_B_D1 */
			MX8MP_IOMUXC_NAND_DATA06__USDHC3_DATA2		0x1d4 /* SDIO_B_D2 */
			MX8MP_IOMUXC_NAND_DATA07__USDHC3_DATA3		0x1d4 /* SDIO_B_D3 */
			MX8MP_IOMUXC_NAND_RE_B__USDHC3_DATA4		0x1d4 /* SDIO_B_D4 */
			MX8MP_IOMUXC_NAND_CE2_B__USDHC3_DATA5		0x1d4 /* SDIO_B_D5 */
			MX8MP_IOMUXC_NAND_CE3_B__USDHC3_DATA6		0x1d4 /* SDIO_B_D6 */
			MX8MP_IOMUXC_NAND_CLE__USDHC3_DATA7		0x1d4 /* SDIO_B_D7 */
		>;
	};

	pinctrl_usdhc3_200mhz: usdhc3-200mhzgrp {
		fsl,pins = <
			MX8MP_IOMUXC_NAND_WE_B__USDHC3_CLK		0x196 /* SDIO_B_CLK */
			MX8MP_IOMUXC_NAND_WP_B__USDHC3_CMD		0x1d6 /* SDIO_B_CMD */
			MX8MP_IOMUXC_NAND_DATA04__USDHC3_DATA0		0x1d6 /* SDIO_B_D0 */
			MX8MP_IOMUXC_NAND_DATA05__USDHC3_DATA1		0x1d6 /* SDIO_B_D1 */
			MX8MP_IOMUXC_NAND_DATA06__USDHC3_DATA2		0x1d6 /* SDIO_B_D2 */
			MX8MP_IOMUXC_NAND_DATA07__USDHC3_DATA3		0x1d6 /* SDIO_B_D3 */
			MX8MP_IOMUXC_NAND_RE_B__USDHC3_DATA4		0x1d6 /* SDIO_B_D4 */
			MX8MP_IOMUXC_NAND_CE2_B__USDHC3_DATA5		0x1d6 /* SDIO_B_D5 */
			MX8MP_IOMUXC_NAND_CE3_B__USDHC3_DATA6		0x1d6 /* SDIO_B_D6 */
			MX8MP_IOMUXC_NAND_CLE__USDHC3_DATA7		0x1d6 /* SDIO_B_D7 */
		>;
	};

	pinctrl_usdhc3_gpio: usdhc3gpiogrp {
		fsl,pins = <
			MX8MP_IOMUXC_HDMI_DDC_SCL__GPIO3_IO26		0x19 /* SDIO_B_CD# */
			MX8MP_IOMUXC_NAND_DQS__GPIO3_IO14		0x19 /* SDIO_B_WP */
		>;
	};

	pinctrl_wdog: wdoggrp {
		fsl,pins = <
			MX8MP_IOMUXC_GPIO1_IO02__WDOG1_WDOG_B		0xc6
		>;
	};
};
